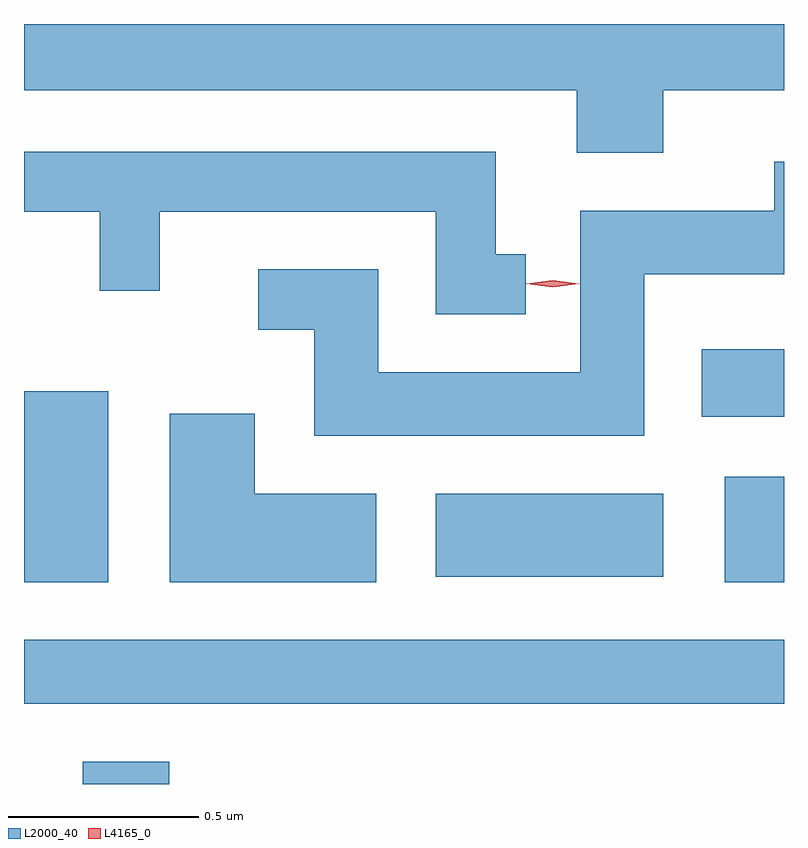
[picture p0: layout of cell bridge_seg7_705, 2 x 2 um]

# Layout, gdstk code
import gdstk
lib = gdstk.Library(unit=1e-6, precision=1e-09)
def R(c, l, rs):  # rectangles x0, y0, x1, y1
    for r in rs: c.add(gdstk.rectangle(r[:2], r[2:], *l))
def P(c, l, *ps):  # polygons
    for p in ps: c.add(gdstk.Polygon(p, *l))
L2000_40 = (2000, 40)
L4165_0 = (4165, 0)

bridge_seg7_705 = lib.new_cell('bridge_seg7_705')
R(bridge_seg7_705, L2000_40, [(828.951,1690.29,829.179,1690.349), (828.797,1690.501,830.797,1690.669), (828.797,1690.821,829.019,1691.324), (830.641,1690.821,830.797,1691.099), (829.881,1690.836,830.479,1691.054), (830.581,1691.256,830.797,1691.434)])
P(bridge_seg7_705, L2000_40, [(830.479,1692.116),(830.797,1692.116),(830.797,1692.29),(828.797,1692.29),(828.797,1692.116),(830.251,1692.116),(830.251,1691.951),(830.479,1691.951)],
  [(830.118,1691.684),(830.039,1691.684),(830.039,1691.954),(828.797,1691.954),(828.797,1691.796),(828.996,1691.796),(828.996,1691.588),(829.154,1691.588),(829.154,1691.796),(829.881,1691.796),(829.881,1691.526),(830.118,1691.526)],
  [(830.429,1691.631),(830.797,1691.631),(830.797,1691.928),(830.771,1691.928),(830.771,1691.799),(830.261,1691.799),(830.261,1691.374),(829.729,1691.374),(829.729,1691.644),(829.413,1691.644),(829.413,1691.486),(829.561,1691.486),(829.561,1691.206),(830.429,1691.206)],
  [(829.724,1691.054),(829.404,1691.054),(829.404,1691.264),(829.181,1691.264),(829.181,1690.821),(829.724,1690.821)])
P(bridge_seg7_705, L4165_0, [(830.188,1691.597),(830.119,1691.606),(830.119,1691.607),(830.119,1691.607),(830.188,1691.616),(830.258,1691.607),(830.258,1691.606),(830.258,1691.606)])

lib.write_gds('bridge_seg7_705.gds')
